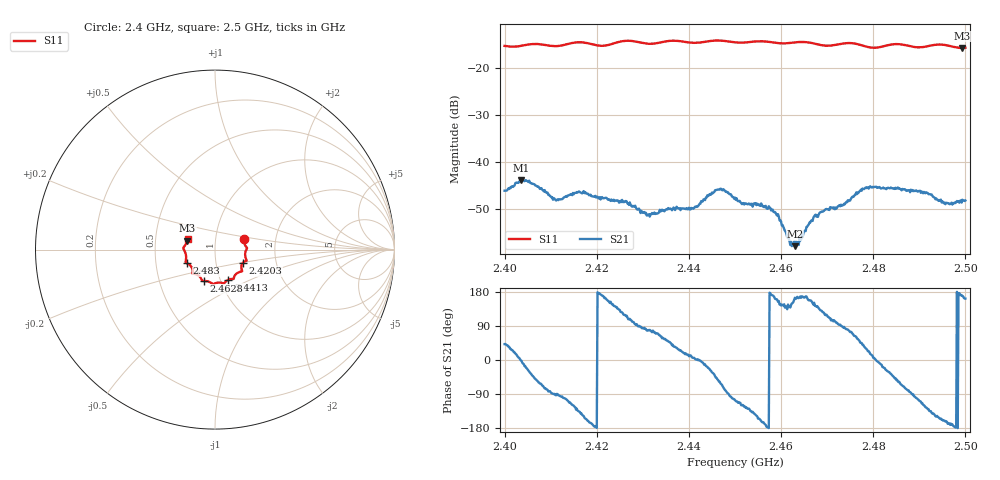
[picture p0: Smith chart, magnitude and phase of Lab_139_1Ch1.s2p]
# Hz S RI R 50
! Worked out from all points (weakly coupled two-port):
!   601 points, 2.4 GHz to 2.5 GHz, reference 50 ohm
!   highest |S21| = -43.95 dB at 2.4035 GHz (marker M1); lowest = -58.0 dB at 2.463 GHz (marker M2)
!   lowest |S11| = -15.8 dB at 2.4993 GHz (marker M3), VSWR 1.39, Z = 36.5 + j3.71 ohm
!   |S11| at or under -10 dB: start of sweep to end of sweep
!   S12 and S22 are empty: the file has one direction only
!   S11 on the Smith chart (normalised r, x): 2.4 GHz: 1.37, +0.16; 2.4203 GHz: 1.35, -0.21; 2.4413 GHz: 1.09, -0.38; 2.4628 GHz: 0.83, -0.30; 2.483 GHz: 0.72, -0.11; 2.5 GHz: 0.73, +0.09
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2.4e9  0.1608 0.0568  0.00363 0.00328  0 0  0 0
2.4035e9  0.1693 0.0219  0.00634 -7.6e-05  0 0  0 0
2.411e9  0.1682 -0.0208  -0.000145 -0.00391  0 0  0 0
2.416667e9  0.1759 -0.0615  -0.00359 -0.00291  0 0  0 0
2.420333e9  0.1552 -0.0742  -0.00405 0.000267  0 0  0 0
2.426e9  0.1517 -0.119  -0.0018 0.00324  0 0  0 0
2.431e9  0.1234 -0.1312  0.000588 0.0026  0 0  0 0
2.433333e9  0.108 -0.1485  0.00101 0.00264  0 0  0 0
2.441333e9  0.0744 -0.1682  0.0033 0.000166  0 0  0 0
2.4465e9  0.0485 -0.1885  0.00276 -0.0042  0 0  0 0
2.45e9  0.0295 -0.184  -0.00114 -0.00397  0 0  0 0
2.457833e9  -0.0221 -0.1855  -0.00299 0.000401  0 0  0 0
2.462833e9  -0.063 -0.1746  -0.00132 0.000521  0 0  0 0
2.463e9  -0.0637 -0.1746  -0.00121 0.000339  0 0  0 0
2.466667e9  -0.0743 -0.1674  -0.00211 0.00104  0 0  0 0
2.478167e9  -0.1246 -0.1145  0.00432 0.00287  0 0  0 0
2.483e9  -0.1549 -0.0765  0.00456 -0.00252  0 0  0 0
2.483333e9  -0.157 -0.0756  0.00447 -0.00273  0 0  0 0
2.4915e9  -0.1677 -0.0119  -0.00273 -0.00383  0 0  0 0
2.496167e9  -0.1712 0.0174  -0.00353 -0.000728  0 0  0 0
2.499333e9  -0.1543 0.0496  -0.00385 0.00075  0 0  0 0
2.5e9  -0.1526 0.0585  -0.00366 0.00119  0 0  0 0
